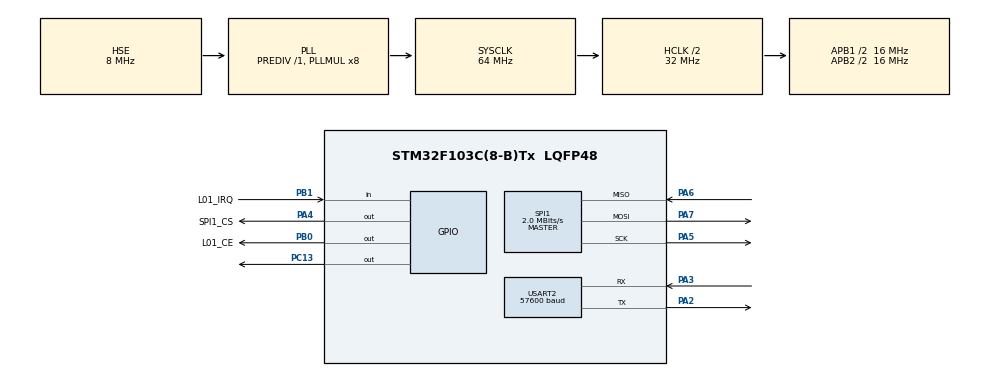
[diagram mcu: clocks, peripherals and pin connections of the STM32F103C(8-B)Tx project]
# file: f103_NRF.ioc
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Mcu.Family=STM32F1
Mcu.Name=STM32F103C(8-B)Tx
Mcu.Package=LQFP48
NVIC.PriorityGroup=NVIC_PRIORITYGROUP_4
NVIC.TIM3_IRQn=true\:0\:0\:false\:false\:true\:true\:true
PA13.Mode=Serial_Wire
PA13.Signal=SYS_JTMS-SWDIO
PA14.Mode=Serial_Wire
PA14.Signal=SYS_JTCK-SWCLK
PA2.Mode=Asynchronous
PA2.Signal=USART2_TX
PA3.Mode=Asynchronous
PA3.Signal=USART2_RX
PA4.GPIO_Label=SPI1_CS
PA4.Signal=GPIO_Output
PA5.Mode=Full_Duplex_Master
PA5.Signal=SPI1_SCK
PA6.Mode=Full_Duplex_Master
PA6.Signal=SPI1_MISO
PA7.Mode=Full_Duplex_Master
PA7.Signal=SPI1_MOSI
PB0.GPIO_Label=L01_CE
PB0.Signal=GPIO_Output
PB1.GPIO_Label=L01_IRQ
PB1.Signal=GPIO_Input
PB3.Signal=SYS_JTDO-TRACESWO
PC13-TAMPER-RTC.Signal=GPIO_Output
PD0-OSC_IN.Mode=HSE-External-Oscillator
PD0-OSC_IN.Signal=RCC_OSC_IN
PD1-OSC_OUT.Mode=HSE-External-Oscillator
PD1-OSC_OUT.Signal=RCC_OSC_OUT
ProjectManager.HeapSize=0x300
ProjectManager.StackSize=0x600
ProjectManager.TargetToolchain=STM32CubeIDE
RCC.AHBCLKDivider=RCC_SYSCLK_DIV2
RCC.AHBFreq_Value=32000000
RCC.APB1CLKDivider=RCC_HCLK_DIV2
RCC.APB1Freq_Value=16000000
RCC.APB1TimFreq_Value=32000000
RCC.APB2CLKDivider=RCC_HCLK_DIV2
RCC.APB2Freq_Value=16000000
RCC.APB2TimFreq_Value=32000000
RCC.HCLKFreq_Value=32000000
RCC.PLLMUL=RCC_PLL_MUL8
RCC.PLLSourceVirtual=RCC_PLLSOURCE_HSE
RCC.SYSCLKFreq_VALUE=64000000
RCC.SYSCLKSource=RCC_SYSCLKSOURCE_PLLCLK
RCC.USBFreq_Value=64000000
SPI1.BaudRatePrescaler=SPI_BAUDRATEPRESCALER_8
SPI1.CalculateBaudRate=2.0 MBits/s
SPI1.Direction=SPI_DIRECTION_2LINES
SPI1.Mode=SPI_MODE_MASTER
SPI1.VirtualType=VM_MASTER
TIM3.Period=9
TIM3.Prescaler=31
USART2.BaudRate=57600
USART2.VirtualMode=VM_ASYNC
VP_TIM3_VS_ClockSourceINT.Mode=Internal
board=custom

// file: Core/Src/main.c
/* USER CODE BEGIN Header */

/* USER CODE END Header */

#include "main.h"

/* USER CODE BEGIN Includes */
#include "stdio.h"
#include "string.h"
/* USER CODE END Includes */

/* USER CODE BEGIN PD */
#define msg_SIZE 60

/* USER CODE END PD */

SPI_HandleTypeDef hspi1;

TIM_HandleTypeDef htim3;

UART_HandleTypeDef huart2;

/* USER CODE BEGIN PV */
static uint16_t delay = 0;
uint8_t P1_ADDRESS[5] = {0xE7, 0xD3, 0xB6, 0xB7, 0x01}; //адрес передатчика канала 1. Адреса должны быть уникальные, для каналов Pipe2-5 заносим только младший байт, а старшие берутся из адреса канала pipe1
uint8_t P2_ADDRESS[5] = {0xE7, 0xD3, 0xB6, 0xB7, 0x02}; //адрес передатчика канала 2
/* USER CODE END PV */

void SystemClock_Config(void);
static void MX_GPIO_Init(void);
static void MX_SPI1_Init(void);
static void MX_USART2_UART_Init(void);
static void MX_TIM3_Init(void);
/* USER CODE BEGIN PFP */
void DelayMicro (__IO uint16_t );
void NRF24_ini();
uint8_t NRF24_ReadReg(uint8_t );
void NRF24_WriteReg(uint8_t, uint8_t );
/* USER CODE END PFP */

/* USER CODE BEGIN 0 */
static char UART_msg_TX[msg_SIZE]; // массив для формирования сообщений для вывода по UART
static unsigned char buffer [20]; //буффер приёма данных по SPI
/* USER CODE END 0 */

int main(void)
{

  /* MCU Configuration--------------------------------------------------------*/

  /* Reset of all peripherals, Initializes the Flash interface and the Systick. */
  HAL_Init();

  /* Configure the system clock */
  SystemClock_Config();

  /* Initialize all configured peripherals */
  MX_GPIO_Init();
  MX_SPI1_Init();
  MX_USART2_UART_Init();
  MX_TIM3_Init();
  /* USER CODE BEGIN 2 */
  sprintf (UART_msg_TX, "start\r\n");
  HAL_UART_Transmit (&huart2, (unsigned char*) UART_msg_TX, strlen(UART_msg_TX), 0xFFFF);
  NRF24_ini ();

  /* USER CODE END 2 */

  /* Infinite loop */
  while (1)
  {

    /* USER CODE BEGIN 3 */
	  HAL_Delay(1000);
	  sprintf (UART_msg_TX,"CONFIG: 0x%02X\r\n", NRF24_ReadReg(CONFIG));
	  HAL_UART_Transmit(&huart2, (unsigned char*)UART_msg_TX, strlen(UART_msg_TX), 0x1000);

	  sprintf (UART_msg_TX,"EN_AA: 0x%02X\r\n", NRF24_ReadReg(EN_AA));
	  HAL_UART_Transmit(&huart2, (unsigned char*)UART_msg_TX, strlen(UART_msg_TX), 0x1000);

	  sprintf (UART_msg_TX,"EN_RXADDR: 0x%02X\r\n", NRF24_ReadReg (EN_RXADDR));
	  HAL_UART_Transmit(&huart2, (unsigned char*)UART_msg_TX, strlen(UART_msg_TX), 0x1000);

	  sprintf (UART_msg_TX,"STATUS: 0x%02X\r\n", NRF24_ReadReg(STATUS));
	  HAL_UART_Transmit(&huart2, (unsigned char*)UART_msg_TX, strlen(UART_msg_TX), 0x1000);

	  sprintf (UART_msg_TX,"RF_SETUP: 0x%02X\r\n", NRF24_ReadReg(RF_SETUP));
	  HAL_UART_Transmit(&huart2, (unsigned char*)UART_msg_TX, strlen(UART_msg_TX), 0x1000);

	  NRF24_Read_Buf (TX_ADDR, buffer, TX_ADR_WIDTH);
	  sprintf (UART_msg_TX,"TX_ADDR: 0x%02X, 0x%02X, 0x%02X, 0x%02X, 0x%02X\r\n", buffer[0], buffer[1], buffer[2], buffer[3], buffer[4]);
	  HAL_UART_Transmit(&huart2, (unsigned char*)UART_msg_TX, strlen(UART_msg_TX), 0x1000);

	  NRF24_Read_Buf (RX_ADDR_P1, buffer, TX_ADR_WIDTH);
	  sprintf (UART_msg_TX,"RX1_ADDR: 0x%02X, 0x%02X, 0x%02X, 0x%02X, 0x%02X\r\n", buffer[0], buffer[1], buffer[2], buffer[3], buffer[4]);
	  HAL_UART_Transmit(&huart2, (unsigned char*)UART_msg_TX, strlen(UART_msg_TX), 0x1000);

	  NRF24_Read_Buf (RX_ADDR_P2, buffer, TX_ADR_WIDTH);
	  sprintf (UART_msg_TX,"RX2_ADDR: 0x%02X, 0x%02X, 0x%02X, 0x%02X, 0x%02X\r\n", buffer[0], buffer[1], buffer[2], buffer[3], buffer[4]);
	  HAL_UART_Transmit(&huart2, (unsigned char*)UART_msg_TX, strlen(UART_msg_TX), 0x1000);
  }
  /* USER CODE END 3 */
}

void SystemClock_Config(void)
{
  RCC_OscInitTypeDef RCC_OscInitStruct = {0};
  RCC_ClkInitTypeDef RCC_ClkInitStruct = {0};

  /** Initializes the CPU, AHB and APB busses clocks
  */
  RCC_OscInitStruct.OscillatorType = RCC_OSCILLATORTYPE_HSE;
  RCC_OscInitStruct.HSEState = RCC_HSE_ON;
  RCC_OscInitStruct.HSEPredivValue = RCC_HSE_PREDIV_DIV1;
  RCC_OscInitStruct.HSIState = RCC_HSI_ON;
  RCC_OscInitStruct.PLL.PLLState = RCC_PLL_ON;
  RCC_OscInitStruct.PLL.PLLSource = RCC_PLLSOURCE_HSE;
  RCC_OscInitStruct.PLL.PLLMUL = RCC_PLL_MUL8;
  if (HAL_RCC_OscConfig(&RCC_OscInitStruct) != HAL_OK)
  {
    Error_Handler();
  }
  /** Initializes the CPU, AHB and APB busses clocks
  */
  RCC_ClkInitStruct.ClockType = RCC_CLOCKTYPE_HCLK|RCC_CLOCKTYPE_SYSCLK
                              |RCC_CLOCKTYPE_PCLK1|RCC_CLOCKTYPE_PCLK2;
  RCC_ClkInitStruct.SYSCLKSource = RCC_SYSCLKSOURCE_PLLCLK;
  RCC_ClkInitStruct.AHBCLKDivider = RCC_SYSCLK_DIV2;
  RCC_ClkInitStruct.APB1CLKDivider = RCC_HCLK_DIV2;
  RCC_ClkInitStruct.APB2CLKDivider = RCC_HCLK_DIV2;

  if (HAL_RCC_ClockConfig(&RCC_ClkInitStruct, FLASH_LATENCY_2) != HAL_OK)
  {
    Error_Handler();
  }
}

static void MX_SPI1_Init(void)
{

  /* SPI1 parameter configuration*/
  hspi1.Instance = SPI1;
  hspi1.Init.Mode = SPI_MODE_MASTER;
  hspi1.Init.Direction = SPI_DIRECTION_2LINES;
  hspi1.Init.DataSize = SPI_DATASIZE_8BIT;
  hspi1.Init.CLKPolarity = SPI_POLARITY_LOW;
  hspi1.Init.CLKPhase = SPI_PHASE_1EDGE;
  hspi1.Init.NSS = SPI_NSS_SOFT;
  hspi1.Init.BaudRatePrescaler = SPI_BAUDRATEPRESCALER_8;
  hspi1.Init.FirstBit = SPI_FIRSTBIT_MSB;
  hspi1.Init.TIMode = SPI_TIMODE_DISABLE;
  hspi1.Init.CRCCalculation = SPI_CRCCALCULATION_DISABLE;
  hspi1.Init.CRCPolynomial = 10;
  if (HAL_SPI_Init(&hspi1) != HAL_OK)
  {
    Error_Handler();
  }

}

static void MX_TIM3_Init(void)
{

  TIM_ClockConfigTypeDef sClockSourceConfig = {0};
  TIM_MasterConfigTypeDef sMasterConfig = {0};

  htim3.Instance = TIM3;
  htim3.Init.Prescaler = 31;
  htim3.Init.CounterMode = TIM_COUNTERMODE_UP;
  htim3.Init.Period = 9;
  htim3.Init.ClockDivision = TIM_CLOCKDIVISION_DIV1;
  htim3.Init.AutoReloadPreload = TIM_AUTORELOAD_PRELOAD_DISABLE;
  if (HAL_TIM_Base_Init(&htim3) != HAL_OK)
  {
    Error_Handler();
  }
  sClockSourceConfig.ClockSource = TIM_CLOCKSOURCE_INTERNAL;
  if (HAL_TIM_ConfigClockSource(&htim3, &sClockSourceConfig) != HAL_OK)
  {
    Error_Handler();
  }
  sMasterConfig.MasterOutputTrigger = TIM_TRGO_RESET;
  sMasterConfig.MasterSlaveMode = TIM_MASTERSLAVEMODE_DISABLE;
  if (HAL_TIMEx_MasterConfigSynchronization(&htim3, &sMasterConfig) != HAL_OK)
  {
    Error_Handler();
  }

}

static void MX_USART2_UART_Init(void)
{

  huart2.Instance = USART2;
  huart2.Init.BaudRate = 57600;
  huart2.Init.WordLength = UART_WORDLENGTH_8B;
  huart2.Init.StopBits = UART_STOPBITS_1;
  huart2.Init.Parity = UART_PARITY_NONE;
  huart2.Init.Mode = UART_MODE_TX_RX;
  huart2.Init.HwFlowCtl = UART_HWCONTROL_NONE;
  huart2.Init.OverSampling = UART_OVERSAMPLING_16;
  if (HAL_UART_Init(&huart2) != HAL_OK)
  {
    Error_Handler();
  }

}

static void MX_GPIO_Init(void)
{
  GPIO_InitTypeDef GPIO_InitStruct = {0};

  /* GPIO Ports Clock Enable */
  __HAL_RCC_GPIOC_CLK_ENABLE();
  __HAL_RCC_GPIOD_CLK_ENABLE();
  __HAL_RCC_GPIOA_CLK_ENABLE();
  __HAL_RCC_GPIOB_CLK_ENABLE();

  /*Configure GPIO pin Output Level */
  HAL_GPIO_WritePin(GPIOC, GPIO_PIN_13, GPIO_PIN_RESET);

  /*Configure GPIO pin Output Level */
  HAL_GPIO_WritePin(SPI1_CS_GPIO_Port, SPI1_CS_Pin, GPIO_PIN_RESET);

  /*Configure GPIO pin Output Level */
  HAL_GPIO_WritePin(L01_CE_GPIO_Port, L01_CE_Pin, GPIO_PIN_RESET);

  /*Configure GPIO pin : PC13 */
  GPIO_InitStruct.Pin = GPIO_PIN_13;
  GPIO_InitStruct.Mode = GPIO_MODE_OUTPUT_PP;
  GPIO_InitStruct.Pull = GPIO_NOPULL;
  GPIO_InitStruct.Speed = GPIO_SPEED_FREQ_LOW;
  HAL_GPIO_Init(GPIOC, &GPIO_InitStruct);

  /*Configure GPIO pin : SPI1_CS_Pin */
  GPIO_InitStruct.Pin = SPI1_CS_Pin;
  GPIO_InitStruct.Mode = GPIO_MODE_OUTPUT_PP;
  GPIO_InitStruct.Pull = GPIO_NOPULL;
  GPIO_InitStruct.Speed = GPIO_SPEED_FREQ_LOW;
  HAL_GPIO_Init(SPI1_CS_GPIO_Port, &GPIO_InitStruct);

  /*Configure GPIO pin : L01_CE_Pin */
  GPIO_InitStruct.Pin = L01_CE_Pin;
  GPIO_InitStruct.Mode = GPIO_MODE_OUTPUT_PP;
  GPIO_InitStruct.Pull = GPIO_NOPULL;
  GPIO_InitStruct.Speed = GPIO_SPEED_FREQ_LOW;
  HAL_GPIO_Init(L01_CE_GPIO_Port, &GPIO_InitStruct);

  /*Configure GPIO pin : L01_IRQ_Pin */
  GPIO_InitStruct.Pin = L01_IRQ_Pin;
  GPIO_InitStruct.Mode = GPIO_MODE_INPUT;
  GPIO_InitStruct.Pull = GPIO_NOPULL;
  HAL_GPIO_Init(L01_IRQ_GPIO_Port, &GPIO_InitStruct);

}

/* USER CODE BEGIN 4 */
//------------------------------------------------------------------------------------------------------------------------------------//
void HAL_TIM_PeriodElapsedCallback(TIM_HandleTypeDef *htim)
{
	if(htim==&htim3)
	{
		if (delay)
			delay--; //уменьшаем задержку раз в 1 мкс
	}
}
//------------------------------------------------------------------------------------------------------------------------------------//
void DelayMicro (__IO uint16_t delay_us) // IO=volatile,  указание компилятору, что эту переменную не трогать в процессе оптимизации кода
{
	HAL_TIM_Base_Start_IT(&htim3);
	delay = delay_us/10; //задержка раз в 1 мкс
	while (delay) {};
	HAL_TIM_Base_Stop_IT(&htim3);
}

//------------------------------------------------------------------------------------------------------------------------------------//
uint8_t NRF24_ReadReg(uint8_t address)
{
  uint8_t data = 0; //считанные данные
  uint8_t cmd = 0; //передадим любой байт
  address |= R_REGISTER; //включим бит чтения в адрес
  CS_ON;
  HAL_SPI_TransmitReceive(&hspi1, &address, &data, 1, 1000); //отправим адрес в шину
  if (address != STATUS)//если адрес равен адрес регистра статус то и возвращаем его состояние
  {
    cmd=0xFF;
    HAL_SPI_TransmitReceive(&hspi1, &cmd, &data, 1, 1000);
  }
  CS_OFF;
  return data;
}

//------------------------------------------------------------------------------------------------------------------------------------//
void NRF24_WriteReg(uint8_t address, uint8_t data)
{
  address |= W_REGISTER;//включим бит записи в адрес
  CS_ON;
  HAL_SPI_Transmit (&hspi1, &address, 1, 1000);//отправим адрес в шину
  HAL_SPI_Transmit (&hspi1, &data, 1, 1000);//отправим данные в шину
  CS_OFF;
}

//------------------------------------------------------------------------------------------------------------------------------------//
void NRF24_Write_Buf(uint8_t address, uint8_t *pBuf, uint8_t bytes)

{

	address |= W_REGISTER;//включим бит записи в адрес
	CS_ON;
	HAL_SPI_Transmit(&hspi1, &address, 1, 1000);//отправим адрес в шину
	DelayMicro(1);
	HAL_SPI_Transmit(&hspi1, pBuf, bytes, 1000);//отправим данные в буфер
	CS_OFF;
}

//------------------------------------------------------------------------------------------------------------------------------------//
void NRF24_Read_Buf (uint8_t address, uint8_t *pBuf, uint8_t bytes)

{
  CS_ON;
  HAL_SPI_Transmit(&hspi1, &address, 1, 1000);//отправим адрес в шину
  HAL_SPI_Receive(&hspi1, pBuf, bytes, 1000);//получим данные в буфер
  CS_OFF;
}

//------------------------------------------------------------------------------------------------------------------------------------//
void NRF24_command (uint8_t cmd)
{
  CS_ON;
  HAL_SPI_Transmit(&hspi1, &cmd, 1, 1000);//отправим команду
  DelayMicro (10);
  CS_OFF;
}

//------------------------------------------------------------------------------------------------------------------------------------//
void NRF24_activate ()

{
	uint8_t activate = 0x50; //команда активирует команды R_RX_PL_WID, W_ACK_PAYLOAD и W_TX_PAYLOAD_NOACK
	uint8_t data = 0x73;
	CS_ON;
	HAL_SPI_Transmit(&hspi1, &activate, 1, 1000);//отправим команду activate
	DelayMicro (10);
	HAL_SPI_Transmit(&hspi1, &data, 1, 1000);//отправим 0x73 (стр. 46)
	CS_OFF;
}

//------------------------------------------------ф-я для включения режима приёма--------------------------------------------------//

void NRF24L01_RX_Mode(void)

{
  uint8_t regval=0;
  regval = NRF24_ReadReg (CONFIG); //считаем текущее значение регистра CONFIG
  regval |= (1<<PWR_UP)|(1<<PRIM_RX); //разбудим модуль и переведём его в режим приёмника, включив биты PWR_UP и PRIM_RX
  NRF24_WriteReg(CONFIG,regval);
  CE_SET;
  DelayMicro(150); //Задержка минимум 130 мкс
  NRF24_command (FLUSH_RX); //очистки буферов FIFO приёма
  NRF24_command (FLUSH_TX); //очистки буферов FIFO передачи
}

//---------------------------------------------------ф-я инициализация NRF----------------------------------------------------//
void NRF24_ini()

{
	CE_RESET; //отключим модуль (standby mode). все записи в регистры настроек производятся в этом режиме
	DelayMicro (5000);
	NRF24_WriteReg (STATUS, 0x0A); // 0b00001010 включим передатчик, включеним использование контрольной суммы (CRC = 1 байт)
	DelayMicro (5000);
	NRF24_WriteReg (EN_AA, 0x04); // включам автоподтверждение для 2 канала обмена
	NRF24_WriteReg (EN_RXADDR, 0x04); // включим испольхование 2 канала обмена
	NRF24_WriteReg (SETUP_AW, 0x03); // устанавливаем величину адреса - 5 байта
	NRF24_WriteReg (SETUP_RETR, 0x2E); //устанавливаем задержку = 750 uс и 14 повторов при неудачной отправке

	NRF24_activate (); //отправим команду ACTIVATE, за которой отправим значение 0x73. Активирует команды R_RX_PL_WID, W_ACK_PAYLOAD и W_TX_PAYLOAD_NOACK

	NRF24_WriteReg(FEATURE, 0x0); //0 - установка по умолчанию
	NRF24_WriteReg(DYNPD, 0); //0 - установка по умолчанию
	NRF24_WriteReg(STATUS, 0x70); //сбросим все флаги прерываний записью '1'
	NRF24_WriteReg(RF_CH, 76); // частота 2476 MHz
	NRF24_WriteReg(RF_SETUP, 0x06); //мощность передачи: 0dBm, скорость передачи:1Mbps
	NRF24_Write_Buf (TX_ADDR, P1_ADDRESS, TX_ADR_WIDTH); //установим адрес передатчика
	NRF24_Write_Buf (RX_ADDR_P1, P1_ADDRESS, TX_ADR_WIDTH); //установим адрес получения данных (длиной TX_ADR_WIDTH байт)  для 1 канала
	NRF24_Write_Buf (RX_ADDR_P2, P2_ADDRESS, TX_ADR_WIDTH); //установим адрес получения данных (длиной TX_ADR_WIDTH байт)  для 2 канала
	NRF24_WriteReg(RX_PW_P2, TX_PLOAD_WIDTH); //установим количество байт в пакете для 2 канала

	NRF24L01_RX_Mode(); //уходим в режим приёмника
}

/* USER CODE END 4 */

void Error_Handler(void)
{
}

/************************ (C) COPYRIGHT STMicroelectronics *****END OF FILE****/
